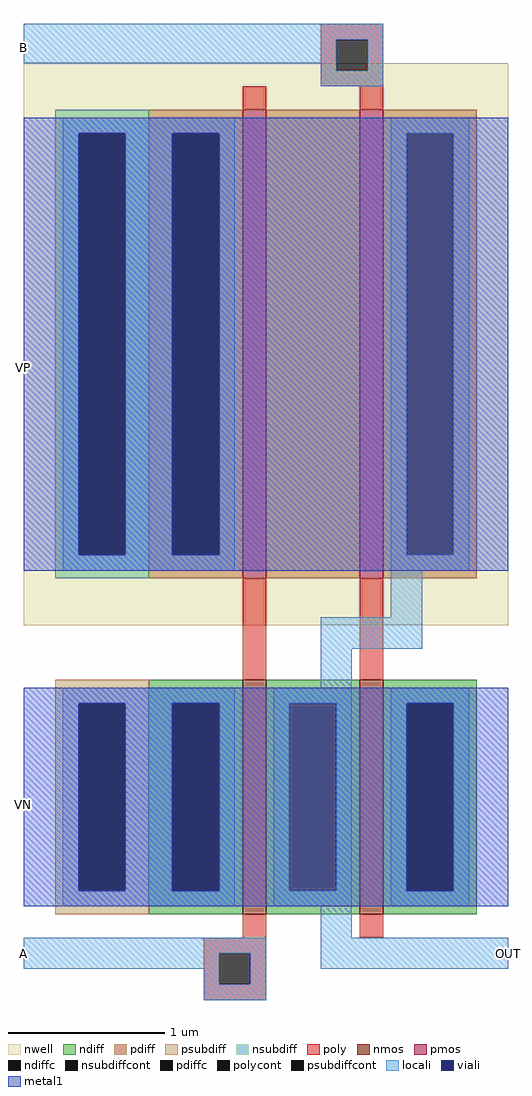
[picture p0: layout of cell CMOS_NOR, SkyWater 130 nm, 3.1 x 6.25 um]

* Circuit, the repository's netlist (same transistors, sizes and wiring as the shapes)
* SPICE3 file created from CMOS_NOR.ext - technology: sky130A

.subckt CMOS_NOR A B NOR VP VN
X0 VN B NOR VN sky130_fd_pr__nfet_01v8 ad=1.8e+12p pd=8.4e+06u as=9e+11p ps=4.2e+06u w=1.5e+06u l=150000u
X1 NOR A VN VN sky130_fd_pr__nfet_01v8 ad=0p pd=0u as=0p ps=0u w=1.5e+06u l=150000u
X2 a_30_430# A VP VP sky130_fd_pr__pfet_01v8 ad=1.8e+12p pd=7.2e+06u as=1.8e+12p ps=7.2e+06u w=3e+06u l=150000u
X3 NOR B a_30_430# VP sky130_fd_pr__pfet_01v8 ad=1.8e+12p pd=7.2e+06u as=0p ps=0u w=3e+06u l=150000u
.ends

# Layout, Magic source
magic
tech sky130A
<< nwell >>
rect -140 185 170 545
<< nmos >>
rect 0 0 15 150
rect 75 0 90 150
<< pmos >>
rect 0 215 15 515
rect 75 215 90 515
<< ndiff >>
rect -60 135 0 150
rect -60 15 -45 135
rect -15 15 0 135
rect -60 0 0 15
rect 15 135 75 150
rect 15 15 30 135
rect 60 15 75 135
rect 15 0 75 15
rect 90 135 150 150
rect 90 15 105 135
rect 135 15 150 135
rect 90 0 150 15
<< pdiff >>
rect -60 500 0 515
rect -60 230 -45 500
rect -15 230 0 500
rect -60 215 0 230
rect 15 215 75 515
rect 90 500 150 515
rect 90 230 105 500
rect 135 230 150 500
rect 90 215 150 230
<< ndiffc >>
rect -45 15 -15 135
rect 30 15 60 135
rect 105 15 135 135
<< pdiffc >>
rect -45 230 -15 500
rect 105 230 135 500
<< psubdiff >>
rect -120 135 -60 150
rect -120 15 -105 135
rect -75 15 -60 135
rect -120 0 -60 15
<< nsubdiff >>
rect -120 500 -60 515
rect -120 230 -105 500
rect -75 230 -60 500
rect -120 215 -60 230
<< psubdiffcont >>
rect -105 15 -75 135
<< nsubdiffcont >>
rect -105 230 -75 500
<< poly >>
rect 50 560 90 570
rect 50 540 60 560
rect 80 540 90 560
rect 50 530 90 540
rect 0 515 15 530
rect 75 515 90 530
rect 0 150 15 215
rect 75 150 90 215
rect 0 -15 15 0
rect 75 -15 90 0
rect -25 -25 15 -15
rect -25 -45 -15 -25
rect 5 -45 15 -25
rect -25 -55 15 -45
<< polycont >>
rect 60 540 80 560
rect -15 -45 5 -25
<< locali >>
rect -140 560 90 570
rect -140 545 60 560
rect 50 540 60 545
rect 80 540 90 560
rect 50 530 90 540
rect -115 500 -5 510
rect -115 230 -105 500
rect -75 230 -45 500
rect -15 230 -5 500
rect -115 220 -5 230
rect 95 500 145 510
rect 95 230 105 500
rect 135 230 145 500
rect 95 220 145 230
rect 95 190 115 220
rect 50 170 115 190
rect 50 145 70 170
rect -115 135 -5 145
rect -115 15 -105 135
rect -75 15 -45 135
rect -15 15 -5 135
rect -115 5 -5 15
rect 20 135 70 145
rect 20 15 30 135
rect 60 15 70 135
rect 20 5 70 15
rect 95 135 145 145
rect 95 15 105 135
rect 135 15 145 135
rect 95 5 145 15
rect 50 -15 70 5
rect -140 -25 15 -15
rect -140 -35 -15 -25
rect -25 -45 -15 -35
rect 5 -45 15 -25
rect 50 -35 170 -15
rect -25 -55 15 -45
<< viali >>
rect -105 230 -75 500
rect -45 230 -15 500
rect -105 15 -75 135
rect -45 15 -15 135
rect 105 15 135 135
<< metal1 >>
rect -140 500 170 510
rect -140 230 -105 500
rect -75 230 -45 500
rect -15 230 170 500
rect -140 220 170 230
rect -140 135 170 145
rect -140 15 -105 135
rect -75 15 -45 135
rect -15 15 105 135
rect 135 15 170 135
rect -140 5 170 15
<< labels >>
rlabel locali -140 -25 -140 -25 7 A
port 1 w
rlabel metal1 -140 70 -140 70 7 VN
port 5 w
rlabel locali -140 555 -140 555 3 B
port 2 e
rlabel metal1 -140 350 -140 350 3 VP
port 4 e
rlabel locali 170 -25 170 -25 3 OUT
port 3 e
<< end >>
